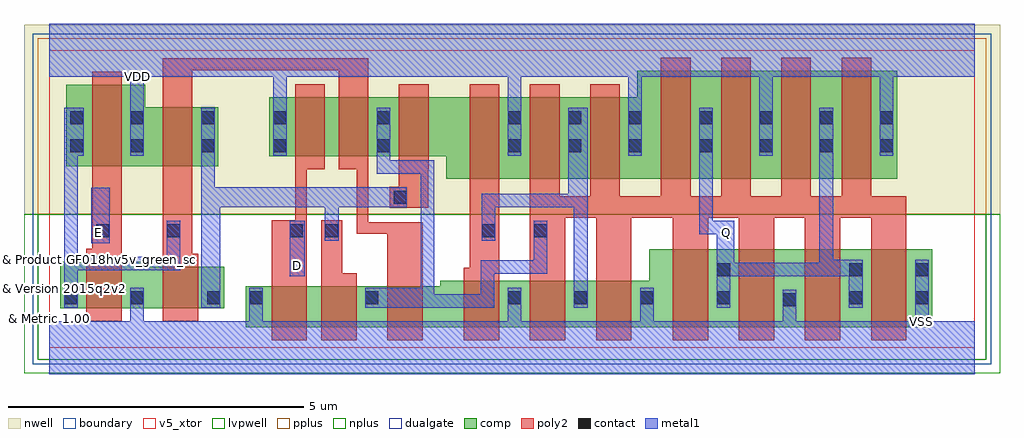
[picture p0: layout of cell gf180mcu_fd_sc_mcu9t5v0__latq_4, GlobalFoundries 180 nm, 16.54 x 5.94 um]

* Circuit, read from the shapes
.subckt gf180mcu_fd_sc_mcu9t5v0__latq_4 D E Q VDD VSS
XM1 VSS E n1 VSUBS nfet_05v0 w=0.79u l=0.6u
XM2 n2 n1 VSS VSUBS nfet_05v0 w=0.7u l=0.6u
XM3 n3 D VSS VSUBS nfet_05v0 w=0.7u l=0.6u
XM4 n4 n2 n3 VSUBS nfet_05v0 w=0.7u l=0.6u
XM5 n5 n1 n4 VSUBS nfet_05v0 w=0.7u l=0.6u
XM6 VSS n6 n5 VSUBS nfet_05v0 w=0.79u l=0.6u
XM7 n6 n4 VSS VSUBS nfet_05v0 w=0.79u l=0.6u m=2
XM8 Q n4 VSS VSUBS nfet_05v0 w=1.32u l=0.6u m=4
XM9 VDD E n1 n7 pfet_05v0 w=1.38u l=0.5u
XM10 n2 n1 VDD n7 pfet_05v0 w=1u l=0.5u
XM11 n8 D VDD n7 pfet_05v0 w=1u l=0.5u
XM12 n4 n1 n8 n7 pfet_05v0 w=1u l=0.5u
XM13 n9 n2 n4 n7 pfet_05v0 w=1u l=0.5u
XM14 VDD n6 n9 n7 pfet_05v0 w=1.38u l=0.5u
XM15 n6 n4 VDD n7 pfet_05v0 w=1.38u l=0.5u m=2
XM16 Q n4 VDD n7 pfet_05v0 w=1.83u l=0.5u m=4
.ends

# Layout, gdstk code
import gdstk
lib = gdstk.Library(unit=1e-6, precision=1e-09)
def R(c, l, rs):  # rectangles x0, y0, x1, y1
    for r in rs: c.add(gdstk.rectangle(r[:2], r[2:], *l))
def A(c, l, x, y, w, h, nx, ny, dx, dy):  # array of equal rectangles
    R(c, l, [(x+i*dx, y+j*dy, x+i*dx+w, y+j*dy+h) for i in range(nx) for j in range(ny)])
def P(c, l, *ps):  # polygons
    for p in ps: c.add(gdstk.Polygon(p, *l))
boundary = (0, 0)
nwell = (21, 0)
comp = (22, 0)
poly2 = (30, 0)
pplus = (31, 0)
nplus = (32, 0)
contact = (33, 0)
metal1 = (34, 0)
dualgate = (55, 0)
v5_xtor = (112, 1)
lvpwell = (204, 0)

gf180mcu_fd_sc_mcu9t5v0_ = lib.new_cell('gf180mcu_fd_sc_mcu9t5v0__latq_4')
R(gf180mcu_fd_sc_mcu9t5v0_, boundary, [(0,0,15.68,5.04)])
R(gf180mcu_fd_sc_mcu9t5v0_, nwell, [(-0.43,2.265,16.11,5.47)])
P(gf180mcu_fd_sc_mcu9t5v0_, comp, [(0.285,3.075),(0.285,4.455),(1.625,4.455),(1.625,4.075),(2.865,4.075),(2.865,3.075)],
  [(0.185,0.67),(0.185,1.46),(1.625,1.46),(1.625,1.37),(2.965,1.37),(2.965,0.67)],
  [(6.725,2.865),(6.725,3.245),(3.725,3.245),(3.725,4.245),(9.965,4.245),(9.965,4.695),(14.365,4.695),(14.365,2.865)],
  [(3.325,0.345),(3.325,1.045),(6.625,1.045),(6.625,1.135),(10.165,1.135),(10.165,1.665),(14.965,1.665),(14.965,0.345)])
P(gf180mcu_fd_sc_mcu9t5v0_, poly2, [(0.625,0.45),(0.625,1.68),(0.725,1.68),(0.725,4.675),(1.225,4.675),(1.225,0.45)],
  [(3.765,0.125),(3.765,2.16),(4.165,2.16),(4.165,4.465),(4.665,4.465),(4.665,3.025),(4.365,3.025),(4.365,0.125)],
  [(4.605,0.125),(4.605,2.16),(4.965,2.16),(4.965,1.265),(5.205,1.265),(5.205,0.125)],
  [(5.725,0.125),(5.725,1.93),(5.205,1.93),(5.205,3.025),(4.905,3.025),(4.905,4.705),(2.425,4.705),(2.425,1.59),(2.525,1.59),(2.525,0.45),(1.925,0.45),(1.925,4.905),(5.405,4.905),(5.405,2.13),(6.325,2.13),(6.325,0.125)],
  [(5.765,2.37),(5.765,2.73),(5.925,2.73),(5.925,4.465),(6.425,4.465),(6.425,3.025),(6.42,3.025),(6.42,2.37)],
  [(7.025,0.125),(7.025,1.355),(7.125,1.355),(7.125,4.465),(7.625,4.465),(7.625,0.125)],
  [(8.145,0.125),(8.145,4.465),(8.645,4.465),(8.645,2.565),(9.165,2.565),(9.165,4.465),(9.665,4.465),(9.665,2.565),(10.365,2.565),(10.365,4.915),(10.865,4.915),(10.865,2.565),(11.385,2.565),(11.385,4.915),(11.885,4.915),(11.885,2.565),(12.405,2.565),(12.405,4.915),(12.905,4.915),(12.905,2.565),(13.425,2.565),(13.425,4.915),(13.925,4.915),(13.925,2.565),(14.525,2.565),(14.525,0.125),(13.925,0.125),(13.925,2.205),(13.405,2.205),(13.405,0.125),(12.805,0.125),(12.805,2.205),(12.285,2.205),(12.285,0.125),(11.685,0.125),(11.685,2.205),(11.165,2.205),(11.165,0.125),(10.565,0.125),(10.565,2.205),(9.865,2.205),(9.865,0.125),(9.265,0.125),(9.265,2.205),(8.745,2.205),(8.745,0.125)])
R(gf180mcu_fd_sc_mcu9t5v0_, pplus, [(-0.2,2.265,15.88,5.24)])
R(gf180mcu_fd_sc_mcu9t5v0_, nplus, [(-0.2,-0.2,15.88,2.265)])
A(gf180mcu_fd_sc_mcu9t5v0_, contact, 7.775, 0.74, 0.22, 0.22, 3, 1, 1.12, 0)
A(gf180mcu_fd_sc_mcu9t5v0_, contact, 7.775, 3.315, 0.22, 0.22, 3, 2, 1.02, 0.47)
A(gf180mcu_fd_sc_mcu9t5v0_, contact, 11.015, 3.315, 0.22, 0.22, 4, 2, 1.02, 0.47)
R(gf180mcu_fd_sc_mcu9t5v0_, contact, [(12.435,0.7,12.655,0.92), (0.255,0.74,0.475,0.96), (1.375,0.74,1.595,0.96), (2.675,0.74,2.895,0.96), (3.395,0.74,3.615,0.96), (5.355,0.74,5.575,0.96), (11.315,0.74,11.535,0.96), (13.555,0.74,13.775,0.96), (14.675,0.74,14.895,0.96), (11.315,1.21,11.535,1.43), (13.555,1.21,13.775,1.43), (14.675,1.21,14.895,1.43), (0.795,1.87,1.015,2.09), (1.995,1.87,2.215,2.09), (4.075,1.87,4.295,2.09), (4.675,1.87,4.895,2.09), (7.335,1.87,7.555,2.09), (8.215,1.87,8.435,2.09), (5.835,2.44,6.055,2.66), (0.355,3.315,0.575,3.535), (1.375,3.315,1.595,3.535), (2.575,3.315,2.795,3.535), (3.795,3.315,4.015,3.535), (5.555,3.315,5.775,3.535), (0.355,3.785,0.575,4.005), (1.375,3.785,1.595,4.005), (2.575,3.785,2.795,4.005), (3.795,3.785,4.015,4.005), (5.555,3.785,5.775,4.005)])
R(gf180mcu_fd_sc_mcu9t5v0_, metal1, [(4.07,1.21,4.33,2.15), (0.71,1.77,1.02,2.71)])
P(gf180mcu_fd_sc_mcu9t5v0_, metal1, [(0.25,0.68),(0.25,4.065),(0.58,4.065),(0.58,3.255),(0.48,3.255),(0.48,1.54),(1.99,1.54),(1.99,2.15),(2.22,2.15),(2.22,1.31),(0.48,1.31),(0.48,0.68)],
  [(2.57,0.68),(2.57,4.065),(2.8,4.065),(2.8,2.72),(6.06,2.72),(6.06,2.38),(4.9,2.38),(4.9,1.81),(4.67,1.81),(4.67,2.38),(2.9,2.38),(2.9,0.68)],
  [(5.35,0.68),(5.35,1.02),(6.29,1.02),(6.29,2.95),(5.55,2.95),(5.55,4.065),(5.78,4.065),(5.78,3.18),(6.52,3.18),(6.52,0.91),(7.31,0.91),(7.31,1.48),(8.21,1.48),(8.21,2.15),(8.44,2.15),(8.44,1.25),(7.54,1.25),(7.54,0.68)],
  [(8.89,0.68),(8.89,2.38),(7.56,2.38),(7.56,1.81),(7.33,1.81),(7.33,2.61),(8.79,2.61),(8.79,4.065),(9.12,4.065),(9.12,0.68)],
  [(11.31,0.68),(11.31,1.92),(11.01,1.92),(11.01,4.065),(11.24,4.065),(11.24,2.15),(11.61,2.15),(11.61,1.44),(13.05,1.44),(13.05,4.065),(13.28,4.065),(13.28,1.49),(13.78,1.49),(13.78,0.68),(13.55,0.68),(13.55,1.21),(11.54,1.21),(11.54,0.68)],
  [(0,-0.45),(0,0.45),(1.37,0.45),(1.37,1.02),(1.6,1.02),(1.6,0.45),(3.39,0.45),(3.39,1.02),(3.62,1.02),(3.62,0.45),(7.77,0.45),(7.77,1.02),(8,1.02),(8,0.45),(10.01,0.45),(10.01,1.02),(10.24,1.02),(10.24,0.45),(12.43,0.45),(12.43,0.98),(12.66,0.98),(12.66,0.45),(14.67,0.45),(14.67,1.49),(14.9,1.49),(14.9,0.45),(15.68,0.45),(15.68,-0.45)],
  [(1.37,3.255),(1.37,4.59),(0,4.59),(0,5.49),(15.68,5.49),(15.68,4.59),(14.3,4.59),(14.3,3.255),(14.07,3.255),(14.07,4.59),(12.26,4.59),(12.26,3.255),(12.03,3.255),(12.03,4.59),(10.04,4.59),(10.04,3.255),(9.81,3.255),(9.81,4.59),(8,4.59),(8,3.255),(7.77,3.255),(7.77,4.59),(4.02,4.59),(4.02,3.255),(3.79,3.255),(3.79,4.59),(1.6,4.59),(1.6,3.255)])
R(gf180mcu_fd_sc_mcu9t5v0_, dualgate, [(-0.28,-0.28,15.96,5.32)])
R(gf180mcu_fd_sc_mcu9t5v0_, v5_xtor, [(0,0,15.68,5.04)])
R(gf180mcu_fd_sc_mcu9t5v0_, lvpwell, [(-0.43,-0.43,16.11,2.265)])
gf180mcu_fd_sc_mcu9t5v0_.add(gdstk.Label('D', (4.2,1.4), layer=34, texttype=10))
gf180mcu_fd_sc_mcu9t5v0_.add(gdstk.Label('E', (0.84,1.96), layer=34, texttype=10))
gf180mcu_fd_sc_mcu9t5v0_.add(gdstk.Label('Q', (11.48,1.96), layer=34, texttype=10))
gf180mcu_fd_sc_mcu9t5v0_.add(gdstk.Label('VDD', (1.485,4.59), layer=34, texttype=10))
gf180mcu_fd_sc_mcu9t5v0_.add(gdstk.Label('VSS', (14.785,0.45), layer=34, texttype=10))
gf180mcu_fd_sc_mcu9t5v0_.add(gdstk.Label('& Vendor GLOBALFOUNDRIES', (0,2), layer=63, texttype=63))
gf180mcu_fd_sc_mcu9t5v0_.add(gdstk.Label('& Product GF018hv5v_green_sc9', (0,1.5), layer=63, texttype=63))
gf180mcu_fd_sc_mcu9t5v0_.add(gdstk.Label('& Version 2015q2v2', (0,1), layer=63, texttype=63))
gf180mcu_fd_sc_mcu9t5v0_.add(gdstk.Label('& Metric 1.00', (0,0.5), layer=63, texttype=63))

lib.write_gds('gf180mcu_fd_sc_mcu9t5v0__latq_4.gds')
